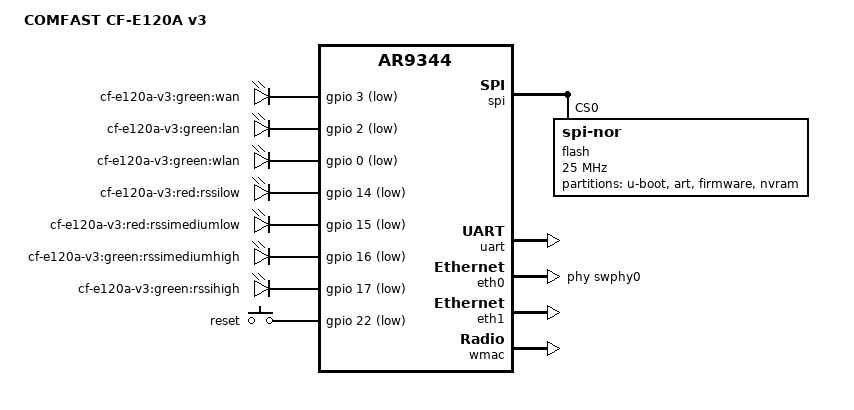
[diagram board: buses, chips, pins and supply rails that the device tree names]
// SPDX-License-Identifier: GPL-2.0-or-later OR MIT
/dts-v1/;

#include <dt-bindings/gpio/gpio.h>
#include <dt-bindings/input/input.h>

#include "ar9344.dtsi"

/ {
	compatible = "comfast,cf-e120a-v3", "qca,ar9344";
	model = "COMFAST CF-E120A v3";

	aliases {
		serial0 = &uart;
		led-boot = &led_rssihigh;
		led-failsafe = &led_rssihigh;
		led-upgrade = &led_rssihigh;
		label-mac-device = &eth0;
	};

	leds {
		compatible = "gpio-leds";

		pinctrl-names = "default";
		pinctrl-0 = <&led_rssimediumhigh_pin>;

		wan {
			label = "cf-e120a-v3:green:wan";
			gpios = <&gpio 3 GPIO_ACTIVE_LOW>;
		};

		lan {
			label = "cf-e120a-v3:green:lan";
			gpios = <&gpio 2 GPIO_ACTIVE_LOW>;
		};

		wlan {
			label = "cf-e120a-v3:green:wlan";
			gpios = <&gpio 0 GPIO_ACTIVE_LOW>;
			linux,default-trigger = "phy0tpt";
		};

		rssilow {
			label = "cf-e120a-v3:red:rssilow";
			gpios = <&gpio 14 GPIO_ACTIVE_LOW>;
		};

		rssimediumlow {
			label = "cf-e120a-v3:red:rssimediumlow";
			gpios = <&gpio 15 GPIO_ACTIVE_LOW>;
		};

		rssimediumhigh {
			label = "cf-e120a-v3:green:rssimediumhigh";
			gpios = <&gpio 16 GPIO_ACTIVE_LOW>;
		};

		led_rssihigh: rssihigh {
			label = "cf-e120a-v3:green:rssihigh";
			gpios = <&gpio 17 GPIO_ACTIVE_LOW>;
		};
	};

	keys {
		compatible = "gpio-keys";

		reset {
			label = "reset";
			linux,code = <KEY_RESTART>;
			gpios = <&gpio 22 GPIO_ACTIVE_LOW>;
			debounce-interval = <60>;
		};
	};
};

&pinmux {
	led_rssimediumhigh_pin: pinmux_rssimediumhigh_pin {
		pinctrl-single,bits = <0x10 0x0 0xff>;
	};
};

&spi {
	status = "okay";

	num-cs = <1>;

	flash@0 {
		compatible = "jedec,spi-nor";
		reg = <0>;
		spi-max-frequency = <25000000>;

		partitions {
			compatible = "fixed-partitions";
			#address-cells = <1>;
			#size-cells = <1>;

			partition@0 {
				label = "u-boot";
				reg = <0x000000 0x010000>;
				read-only;
			};

			art: partition@10000 {
				label = "art";
				reg = <0x010000 0x010000>;
				read-only;
			};

			partition@20000 {
				compatible = "denx,uimage";
				label = "firmware";
				reg = <0x020000 0x7d0000>;
			};

			partition@7f0000 {
				label = "nvram";
				reg = <0x7f0000 0x010000>;
				read-only;
			};
		};
	};
};

&uart {
	status = "okay";
};

&eth0 {
	status = "okay";
	phy-handle = <&swphy0>;
	mtd-mac-address = <&art 0x0>;

	gmac-config {
		device = <&gmac>;
		switch-phy-swap = <1>;
	};
};

&eth1 {
	status = "okay";
	mtd-mac-address = <&art 0x6>;
};

&wmac {
	status = "okay";
	mtd-cal-data = <&art 0x1000>;
};
